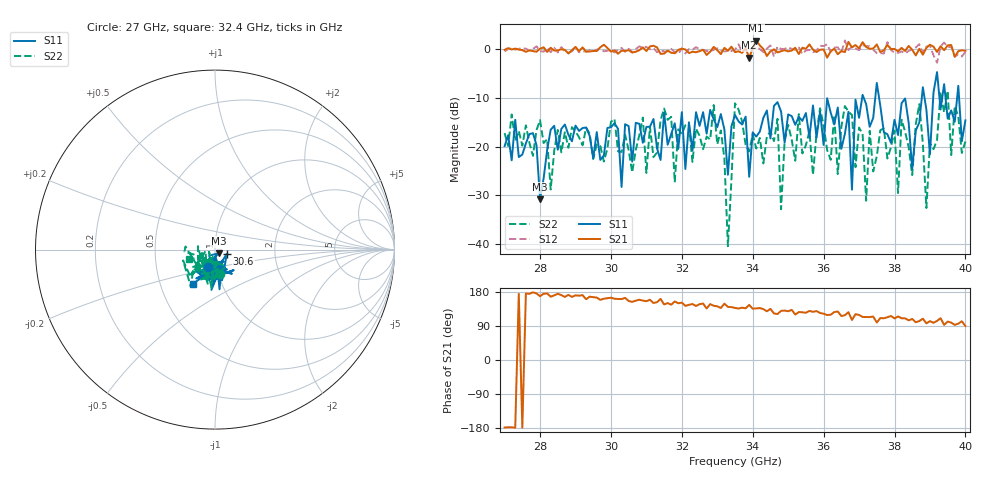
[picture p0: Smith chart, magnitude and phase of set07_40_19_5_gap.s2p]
! Quiescent point : V1=-1.63289E-02 I1=+1.29106E-03 V2=-2.21139E-02 I2=-1.29472E-03
! Pulsed point : V1=-1.58884E-02 I1=+1.29271E-03 V2=-2.14235E-02 I2=-1.27756E-03
! Period : +2.00000E-04
! Input Supply timing : delay=+1.60000E-06 width=+2.20000E-06
! Output Supply timing : delay=+1.70000E-06 width=+2.00000E-06
! VNA timing : delay=+2.40000E-06 width=+1.10000E-06
# Hz S RI R 50
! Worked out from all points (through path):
!   131 points, 27 GHz to 40 GHz, reference 50 ohm
!   highest |S21| = 1.73 dB at 34.1 GHz (marker M1); lowest = -1.8 dB at 33.9 GHz (marker M2)
!   group delay of S21, straight-line fit = 18.2 ps
!   lowest |S11| = -30.8 dB at 28 GHz (marker M3), VSWR 1.06, Z = 52 - j2.11 ohm
!   |S11| at or under -10 dB: start of sweep to 37.09 GHz; 37.13 GHz to 37.46 GHz (324.7 MHz wide, 0.871 % of centre); 37.57 GHz to 38.77 GHz (1.205 GHz wide, 3.16 % of centre)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
!   |S22| runs from -40.4 to -8.6 dB; largest |S21 - S12| = 0.4
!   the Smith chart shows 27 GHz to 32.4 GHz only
!   S11 on the Smith chart (normalised r, x): 27 GHz: 0.91, -0.17; 30.6 GHz: 1.14, -0.05; 32.4 GHz: 0.73, -0.29
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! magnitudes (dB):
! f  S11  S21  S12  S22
! 27 GHz  -19.9  -0.2  -0.5  -17.2
! 28 GHz  -30.8  0.1  -0.4  -14.6
! 28.3 GHz  -16.5  0.3  -0.7  -28.8
! 29.2 GHz  -16.2  0.3  -0.5  -19.7
! 30.6 GHz  -23.1  -0.7  -0.6  -25.3
! 31.4 GHz  -22.7  -1.0  -0.2  -14.6
! 32.4 GHz  -12.9  -0.7  0.4  -16.3
! 33.1 GHz  -13.3  -1.0  -0.3  -16.7
! 33.3 GHz  -25.8  -0.3  -0.4  -40.4
! 33.5 GHz  -13.5  -0.6  -0.1  -11.1
! 33.9 GHz  -26.2  -1.8  -0.4  -21.0
! 34.1 GHz  -17.9  1.7  0.4  -20.4
! 35.7 GHz  -11.6  -0.1  -0.7  -25.8
! 36.7 GHz  -12.9  1.5  -0.2  -12.8
! 36.8 GHz  -28.8  0.3  0.5  -13.5
! 36.9 GHz  -10.4  0.8  0.1  -24.2
! 37.9 GHz  -19.2  0.0  -0.2  -20.1
! 38.5 GHz  -24.6  -0.1  -0.1  -25.8
! 38.7 GHz  -15.0  0.1  1.0  -11.3
! 38.9 GHz  -12.4  0.2  0.5  -32.6
! 39.3 GHz  -12.4  0.6  0.5  -8.8
! 40 GHz  -14.6  -0.4  -0.6  -19.0
